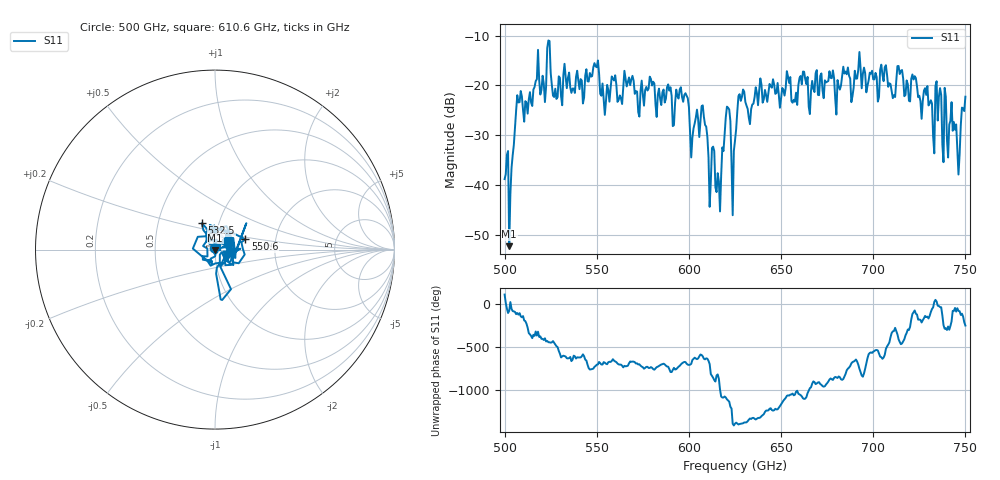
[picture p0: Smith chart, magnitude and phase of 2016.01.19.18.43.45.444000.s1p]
!Created with skrf (http://scikit-rf.org).
# GHz S RI R 50.0
!freq ReS11 ImS11
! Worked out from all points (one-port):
!   401 points, 500 GHz to 750 GHz, reference 50 ohm
!   lowest |S11| = -52.3 dB at 502.5 GHz (marker M1), VSWR 1.00, Z = 50.1 - j0.236 ohm
!   |S11| at or under -10 dB: start of sweep to end of sweep
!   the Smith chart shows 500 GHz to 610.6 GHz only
!   S11 on the Smith chart (normalised r, x): 500 GHz: 0.99, +0.02; 532.5 GHz: 0.83, +0.25; 550.6 GHz: 1.40, +0.17; 610.6 GHz: 1.02, +0.03
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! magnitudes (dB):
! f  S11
! 500 GHz  -38.8
! 502.5 GHz  -52.3
! 508.1 GHz  -23.4
! 520.6 GHz  -18.0
! 524.4 GHz  -11.1
! 527.5 GHz  -20.6
! 531.2 GHz  -24.0
! 532.5 GHz  -15.6
! 550.6 GHz  -15.0
! 562.5 GHz  -22.0
! 593.8 GHz  -22.2
! 598.8 GHz  -22.1
! 601.9 GHz  -30.5
! 608.1 GHz  -26.3
! 610.6 GHz  -34.4
! 616.2 GHz  -39.3
! 621.2 GHz  -24.5
! 625 GHz  -31.1
! 628.1 GHz  -23.1
! 656.2 GHz  -23.5
! 687.5 GHz  -18.6
! 710.6 GHz  -22.6
! 714.4 GHz  -17.7
! 718.8 GHz  -19.7
! 731.9 GHz  -23.6
! 735 GHz  -27.0
! 745.6 GHz  -32.7
! 750 GHz  -22.3
